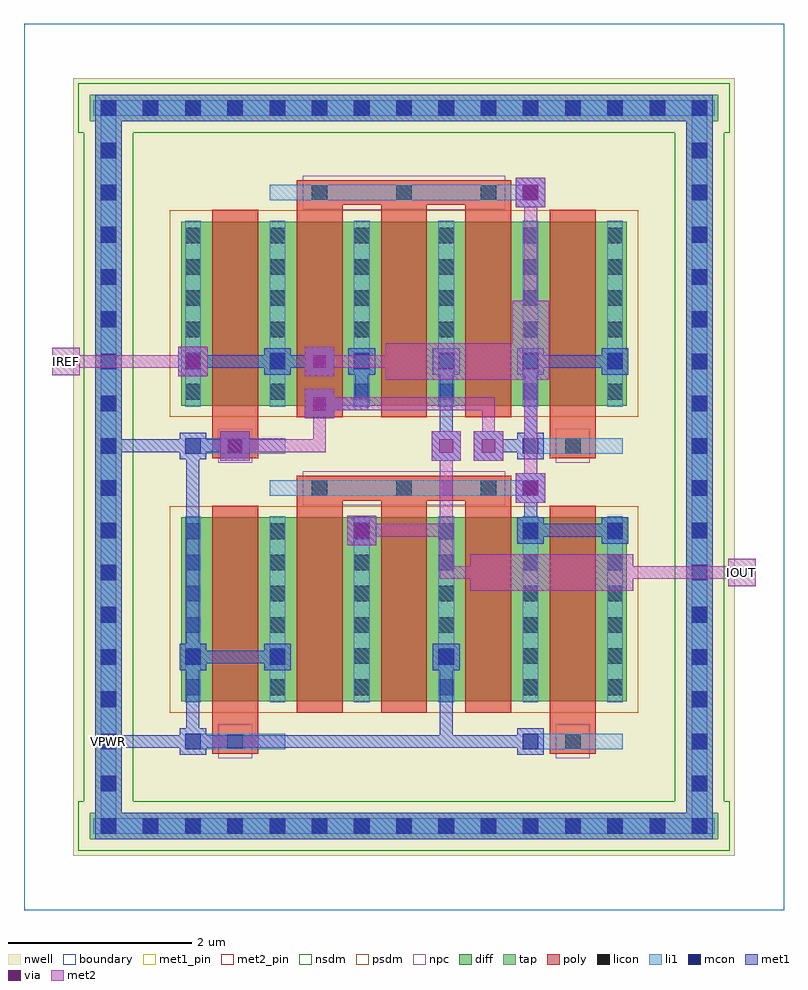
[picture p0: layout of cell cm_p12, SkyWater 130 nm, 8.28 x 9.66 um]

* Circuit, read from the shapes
.subckt cm_p12 IOUT IREF VPWR
XM1 VPWR VPWR VPWR VPWR sky130_fd_pr__pfet_01v8 w=2 l=0.5 m=2
XM2 IREF VPWR IREF VPWR sky130_fd_pr__pfet_01v8 w=2 l=0.5 m=2
XM3 IOUT IREF VPWR VPWR sky130_fd_pr__pfet_01v8 w=2 l=0.5 m=4
XM4 VPWR IREF IREF VPWR sky130_fd_pr__pfet_01v8 w=2 l=0.5 m=2
.ends

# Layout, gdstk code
import gdstk
lib = gdstk.Library(unit=1e-6, precision=1e-09)
def R(c, l, rs):  # rectangles x0, y0, x1, y1
    for r in rs: c.add(gdstk.rectangle(r[:2], r[2:], *l))
def A(c, l, x, y, w, h, nx, ny, dx, dy):  # array of equal rectangles
    R(c, l, [(x+i*dx, y+j*dy, x+i*dx+w, y+j*dy+h) for i in range(nx) for j in range(ny)])
nwell = (64, 20)
diff = (65, 20)
tap = (65, 44)
poly = (66, 20)
licon = (66, 44)
li1 = (67, 20)
mcon = (67, 44)
met1_pin = (68, 16)
met1 = (68, 20)
via = (68, 44)
met2_pin = (69, 16)
met2 = (69, 20)
nsdm = (93, 44)
psdm = (94, 20)
npc = (95, 20)
boundary = (235, 4)

cm_p12 = lib.new_cell('cm_p12')
R(cm_p12, nwell, [(0.535,0.595,7.745,9.065)])
R(cm_p12, diff, [(1.715,2.28,6.565,4.28), (1.715,5.5,6.565,7.5)])
R(cm_p12, tap, [(0.715,0.775,7.565,1.065), (0.775,0.775,1.065,8.885), (7.215,0.775,7.505,8.885), (0.715,8.595,7.565,8.885)])
A(cm_p12, poly, 2.97, 2.15, 0.5, 2.45, 3, 2, 0.92, 3.22)
R(cm_p12, poly, [(2.05,1.705,2.55,1.975), (5.73,1.705,6.23,1.975), (2.05,1.84,2.55,4.41), (5.73,1.84,6.23,4.41), (2.97,4.465,5.31,4.735), (2.05,4.925,2.55,5.195), (5.73,4.925,6.23,5.195), (2.05,5.06,2.55,7.63), (5.73,5.06,6.23,7.63), (2.97,7.685,5.31,7.955)])
A(cm_p12, licon, 0.835, 0.835, 0.17, 0.17, 15, 2, 0.46, 7.82)
A(cm_p12, licon, 0.835, 1.295, 0.17, 0.17, 1, 16, 0, 0.46)
A(cm_p12, licon, 7.275, 1.295, 0.17, 0.17, 1, 16, 0, 0.46)
A(cm_p12, licon, 1.755, 2.345, 0.17, 0.17, 6, 6, 0.92, 0.34)
A(cm_p12, licon, 3.135, 4.515, 0.17, 0.17, 3, 2, 0.92, 3.22)
A(cm_p12, licon, 1.755, 5.565, 0.17, 0.17, 6, 6, 0.92, 0.34)
R(cm_p12, licon, [(2.215,1.755,2.385,1.925), (5.895,1.755,6.065,1.925), (2.215,4.975,2.385,5.145), (5.895,4.975,6.065,5.145)])
A(cm_p12, li1, 1.755, 2.265, 0.17, 2.03, 6, 2, 0.92, 3.22)
R(cm_p12, li1, [(0.755,0.835,7.525,1.005), (0.835,0.835,1.005,8.825), (7.275,0.835,7.445,8.825), (1.755,1.755,2.845,1.925), (5.435,1.755,6.525,1.925), (2.675,4.515,5.605,4.685), (1.755,4.975,2.845,5.145), (5.435,4.975,6.525,5.145), (2.675,7.735,5.605,7.905), (0.755,8.655,7.525,8.825)])
A(cm_p12, mcon, 0.835, 0.835, 0.17, 0.17, 15, 2, 0.46, 7.82)
A(cm_p12, mcon, 0.835, 1.295, 0.17, 0.17, 1, 3, 0, 0.46)
A(cm_p12, mcon, 7.275, 1.295, 0.17, 0.17, 1, 6, 0, 0.46)
A(cm_p12, mcon, 0.835, 2.675, 0.17, 0.17, 3, 1, 0.92, 0)
A(cm_p12, mcon, 0.835, 3.135, 0.17, 0.17, 1, 6, 0, 0.46)
A(cm_p12, mcon, 5.435, 4.055, 0.17, 0.17, 3, 1, 0.92, 0)
A(cm_p12, mcon, 7.275, 4.515, 0.17, 0.17, 1, 3, 0, 0.46)
A(cm_p12, mcon, 0.835, 5.895, 0.17, 0.17, 8, 1, 0.92, 0)
A(cm_p12, mcon, 0.835, 6.355, 0.17, 0.17, 1, 5, 0, 0.46)
A(cm_p12, mcon, 7.275, 6.355, 0.17, 0.17, 1, 5, 0, 0.46)
R(cm_p12, mcon, [(1.755,1.755,1.925,1.925), (5.435,1.755,5.605,1.925), (4.515,2.675,4.685,2.845), (3.595,4.055,3.765,4.225), (5.435,4.515,5.605,4.685), (1.755,4.975,1.925,5.145), (5.435,4.975,5.605,5.145), (5.435,7.735,5.605,7.905)])
R(cm_p12, met1_pin, [(0.85,1.77,0.99,1.91)])
A(cm_p12, met1, 5.375, 3.995, 0.29, 0.29, 1, 3, 0, 0.46)
A(cm_p12, met1, 1.695, 5.835, 0.29, 0.29, 6, 1, 0.92, 0)
R(cm_p12, met1, [(0.775,0.775,7.505,1.065), (0.775,0.775,1.065,8.885), (7.215,0.775,7.505,8.885), (1.695,1.695,1.985,1.985), (5.375,1.695,5.665,1.985), (0.85,1.77,1.91,1.91), (0.85,1.77,0.99,1.91), (1.77,1.77,1.91,2.83), (1.77,1.77,4.67,1.91), (4.53,1.77,5.59,1.91), (4.53,1.77,4.67,2.83), (1.695,2.615,1.985,2.905), (2.615,2.615,2.905,2.905), (4.455,2.615,4.745,2.905), (1.77,2.69,2.83,2.83), (1.77,2.69,1.91,5.13), (3.52,3.98,3.84,4.3), (3.535,3.995,3.825,4.285), (6.295,3.995,6.585,4.285), (5.45,4.07,6.51,4.21), (5.45,4.07,5.59,4.67), (5.36,4.44,5.68,4.76), (2.14,4.9,2.46,5.22), (4.44,4.9,4.76,5.22), (4.9,4.9,5.22,5.22), (1.695,4.915,1.985,5.205), (0.85,4.99,1.91,5.13), (0.85,4.99,0.99,8.81), (1.77,4.99,2.37,5.13), (4.53,4.99,4.67,6.05), (4.99,4.99,5.59,5.13), (5.45,4.99,5.59,6.05), (3.06,5.36,3.38,5.68), (3.15,5.45,3.75,5.59), (3.61,5.45,3.75,6.05), (1.68,5.82,2,6.14), (3.06,5.82,3.38,6.14), (1.77,5.91,2.83,6.05), (2.69,5.91,3.29,6.05), (5.45,5.91,6.51,6.05), (5.36,7.66,5.68,7.98), (5.375,7.675,5.665,7.965), (0.775,8.595,7.505,8.885), (0.85,8.67,0.99,8.81)])
R(cm_p12, via, [(3.605,4.065,3.755,4.215), (5.445,4.525,5.595,4.675), (2.225,4.985,2.375,5.135), (4.525,4.985,4.675,5.135), (4.985,4.985,5.135,5.135), (3.145,5.445,3.295,5.595), (1.765,5.905,1.915,6.055), (3.145,5.905,3.295,6.055), (5.445,7.745,5.595,7.895)])
R(cm_p12, met2_pin, [(7.67,3.53,7.97,3.83), (0.31,5.83,0.61,6.13)])
R(cm_p12, met2, [(4.86,3.48,6.64,3.88), (7.67,3.53,7.97,3.83), (4.53,3.61,4.67,4.21), (4.53,3.61,5.13,3.75), (6.37,3.61,7.89,3.75), (7.75,3.61,7.89,3.75), (3.52,3.98,3.84,4.3), (3.61,4.07,4.67,4.21), (4.53,4.07,4.67,5.13), (5.36,4.44,5.68,4.76), (5.45,4.53,5.59,6.05), (2.14,4.9,2.46,5.22), (4.44,4.9,4.76,5.22), (4.9,4.9,5.22,5.22), (2.23,4.99,3.29,5.13), (3.15,4.99,3.29,5.59), (4.99,4.99,5.13,5.59), (3.06,5.36,3.38,5.68), (3.15,5.45,5.13,5.59), (3.94,5.78,5.72,6.18), (5.32,5.78,5.72,6.64), (1.68,5.82,2,6.14), (3.06,5.82,3.38,6.14), (0.31,5.83,0.61,6.13), (0.39,5.91,0.53,6.05), (0.39,5.91,1.91,6.05), (3.15,5.91,4.21,6.05), (5.45,6.37,5.59,7.89), (5.36,7.66,5.68,7.98)])
R(cm_p12, nsdm, [(0.59,0.65,7.69,1.19), (0.65,1.19,1.19,8.47), (7.09,1.19,7.63,8.47), (0.59,8.47,7.69,9.01)])
R(cm_p12, psdm, [(1.59,2.155,6.69,4.405), (1.59,5.375,6.69,7.625)])
R(cm_p12, npc, [(2.115,1.655,2.485,2.025), (5.795,1.655,6.165,2.025), (3.035,4.415,5.245,4.785), (2.115,4.875,2.485,5.245), (5.795,4.875,6.165,5.245), (3.035,7.635,5.245,8.005)])
R(cm_p12, boundary, [(0,0,8.28,9.66)])
cm_p12.add(gdstk.Label('VPWR', (0.92,1.84), layer=68, texttype=5))
cm_p12.add(gdstk.Label('IREF', (0.46,5.98), layer=69, texttype=5))
cm_p12.add(gdstk.Label('IOUT', (7.82,3.68), layer=69, texttype=5))
cm_p12.add(gdstk.Label('VPWR', (0.92,1.84), layer=68, texttype=16))
cm_p12.add(gdstk.Label('IREF', (0.46,5.98), layer=69, texttype=16))
cm_p12.add(gdstk.Label('IOUT', (7.82,3.68), layer=69, texttype=16))

lib.write_gds('cm_p12.gds')
